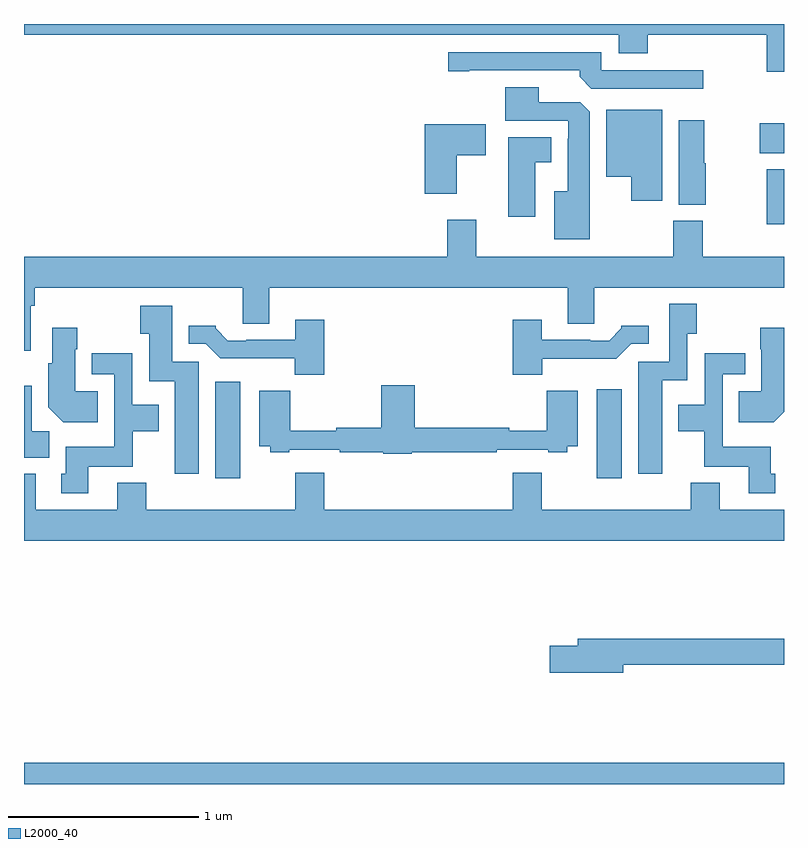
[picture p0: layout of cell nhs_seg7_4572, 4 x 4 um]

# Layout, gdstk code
import gdstk
lib = gdstk.Library(unit=1e-6, precision=1e-09)
def R(c, l, rs):  # rectangles x0, y0, x1, y1
    for r in rs: c.add(gdstk.rectangle(r[:2], r[2:], *l))
def P(c, l, *ps):  # polygons
    for p in ps: c.add(gdstk.Polygon(p, *l))
L2000_40 = (2000, 40)

nhs_seg7_4572 = lib.new_cell('nhs_seg7_4572')
R(nhs_seg7_4572, L2000_40, [(399,1002,403,1002.112), (400.007,1003.608,400.138,1004.116), (402.014,1003.608,402.145,1004.077), (402.91,1004.946,403,1005.235), (402.873,1005.32,403,1005.478)])
P(nhs_seg7_4572, L2000_40, [(403,1006),(399,1006),(399,1005.944),(402.131,1005.944),(402.131,1005.845),(402.284,1005.845),(402.284,1005.944),(402.91,1005.944),(402.91,1005.75),(403,1005.75)],
  [(402.574,1005.756),(402.039,1005.756),(402.039,1005.852),(401.232,1005.852),(401.232,1005.751),(401.344,1005.751),(401.344,1005.756),(401.924,1005.756),(401.924,1005.722),(401.985,1005.66),(402.574,1005.66)],
  [(401.977,1005.539),(401.928,1005.588),(401.71,1005.588),(401.71,1005.667),(401.534,1005.667),(401.534,1005.492),(401.865,1005.492),(401.865,1005.395),(401.861,1005.395),(401.861,1005.121),(401.792,1005.121),(401.792,1004.867),(401.977,1004.867)],
  [(402.358,1005.55),(402.065,1005.55),(402.065,1005.197),(402.197,1005.197),(402.197,1005.069),(402.358,1005.069)],
  [(402.588,1005.267),(402.58,1005.267),(402.58,1005.493),(402.446,1005.493),(402.446,1005.049),(402.588,1005.049)],
  [(401.278,1005.31),(401.431,1005.31),(401.431,1005.472),(401.108,1005.472),(401.108,1005.107),(401.278,1005.107)],
  [(401.692,1005.272),(401.776,1005.272),(401.776,1005.403),(401.549,1005.403),(401.549,1004.985),(401.692,1004.985)],
  [(399.036,1004.516),(399.056,1004.516),(399.056,1004.612),(400.151,1004.612),(400.151,1004.422),(400.291,1004.422),(400.291,1004.612),(401.861,1004.612),(401.861,1004.422),(402.001,1004.422),(402.001,1004.612),(403,1004.612),(403,1004.776),(402.573,1004.776),(402.573,1004.964),(402.418,1004.964),(402.418,1004.776),(401.38,1004.776),(401.38,1004.971),(401.228,1004.971),(401.228,1004.776),(399,1004.776),(399,1004.28),(399.036,1004.28)],
  [(402.358,1004.126),(402.492,1004.126),(402.492,1004.371),(402.54,1004.371),(402.54,1004.527),(402.396,1004.527),(402.396,1004.223),(402.233,1004.223),(402.233,1003.632),(402.358,1003.632)],
  [(399.919,1004.223),(399.781,1004.223),(399.781,1004.518),(399.613,1004.518),(399.613,1004.371),(399.659,1004.371),(399.659,1004.12),(399.794,1004.12),(399.794,1003.632),(399.919,1003.632)],
  [(401.728,1004.238),(402.117,1004.238),(402.195,1004.316),(402.289,1004.316),(402.289,1004.413),(402.144,1004.413),(402.144,1004.398),(402.08,1004.334),(401.981,1004.334),(401.981,1004.337),(401.725,1004.337),(401.725,1004.443),(401.573,1004.443),(401.573,1004.153),(401.728,1004.153)],
  [(400.58,1004.443),(400.427,1004.443),(400.427,1004.337),(400.171,1004.337),(400.171,1004.334),(400.072,1004.334),(400.008,1004.398),(400.008,1004.413),(399.866,1004.413),(399.866,1004.316),(399.957,1004.316),(400.033,1004.24),(400.425,1004.24),(400.425,1004.153),(400.58,1004.153)],
  [(403,1003.958),(403,1004.401),(402.874,1004.401),(402.874,1004.288),(402.881,1004.288),(402.881,1004.068),(402.763,1004.068),(402.763,1003.904),(402.946,1003.904)],
  [(399.389,1004.068),(399.271,1004.068),(399.271,1004.288),(399.279,1004.288),(399.279,1004.401),(399.149,1004.401),(399.149,1004.214),(399.128,1004.214),(399.128,1003.982),(399.206,1003.904),(399.389,1003.904)],
  [(402.955,1003.632),(402.931,1003.632),(402.931,1003.774),(402.678,1003.774),(402.678,1004.157),(402.796,1004.157),(402.796,1004.266),(402.582,1004.266),(402.582,1003.996),(402.443,1003.996),(402.443,1003.856),(402.58,1003.856),(402.58,1003.67),(402.815,1003.67),(402.815,1003.53),(402.955,1003.53)],
  [(399.337,1003.67),(399.573,1003.67),(399.573,1003.856),(399.709,1003.856),(399.709,1003.996),(399.57,1003.996),(399.57,1004.266),(399.357,1004.266),(399.357,1004.157),(399.474,1004.157),(399.474,1003.774),(399.221,1003.774),(399.221,1003.632),(399.197,1003.632),(399.197,1003.53),(399.337,1003.53)],
  [(401.04,1003.746),(401.489,1003.746),(401.489,1003.758),(401.759,1003.758),(401.759,1003.746),(401.859,1003.746),(401.859,1003.778),(401.914,1003.778),(401.914,1004.071),(401.752,1004.071),(401.752,1003.859),(401.554,1003.859),(401.554,1003.874),(401.057,1003.874),(401.057,1004.098),(400.879,1004.098),(400.879,1003.874),(400.644,1003.874),(400.644,1003.859),(400.4,1003.859),(400.4,1004.071),(400.238,1004.071),(400.238,1003.778),(400.296,1003.778),(400.296,1003.746),(400.396,1003.746),(400.396,1003.758),(400.663,1003.758),(400.663,1003.746),(400.89,1003.746),(400.89,1003.738),(401.04,1003.738)],
  [(399.133,1003.856),(399.04,1003.856),(399.04,1004.095),(399,1004.095),(399,1003.718),(399.133,1003.718)],
  [(403,1003.444),(402.661,1003.444),(402.661,1003.585),(402.509,1003.585),(402.509,1003.444),(401.725,1003.444),(401.725,1003.639),(401.573,1003.639),(401.573,1003.444),(400.58,1003.444),(400.58,1003.639),(400.427,1003.639),(400.427,1003.444),(399.644,1003.444),(399.644,1003.585),(399.491,1003.585),(399.491,1003.444),(399.061,1003.444),(399.061,1003.633),(399,1003.633),(399,1003.28),(403,1003.28)],
  [(402.154,1002.628),(403,1002.628),(403,1002.764),(401.915,1002.764),(401.915,1002.728),(401.766,1002.728),(401.766,1002.586),(402.154,1002.586)])

lib.write_gds('nhs_seg7_4572.gds')
